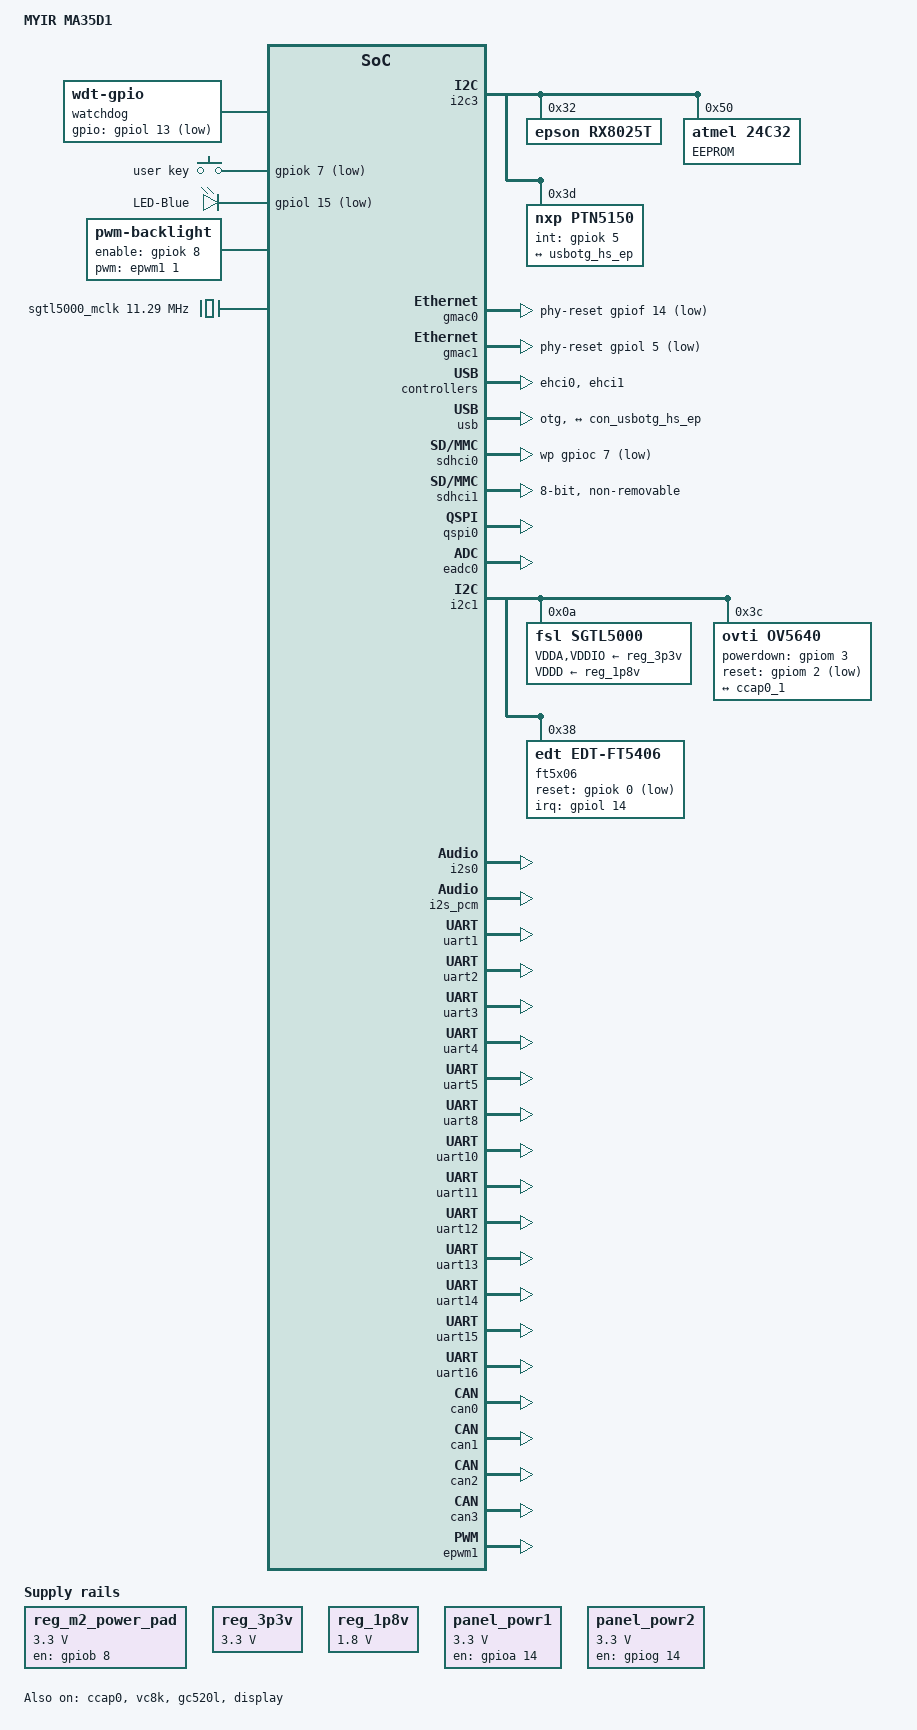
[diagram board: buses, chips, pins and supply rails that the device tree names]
/*
 * Device Tree Source for MA35D1 
 * Copyright (C) 2024 MYIR
 *
 */

/dts-v1/;

#include "ma35d1.dtsi"


#define OV2659_SUPPORT           0

/ {
	model = "MYIR MA35D1";

	chosen {
		bootargs = "root=/dev/mmcblk0p1 rootfstype=ext4 rw rootwait console=ttyS0,115200n8 rdinit=/sbin/init mem=256M";
	};

	reserved-memory {
		display_buf: display_buf@0 {
			reg = <0x0 0x8C800000 0x0 0x3000000>; /* 48MiB */
			no-map;
		};
		vc8k_buf: vc8k_buf@0 {
			reg = <0x0 0x8A800000 0x0 0x2000000>; /* 32MiB */
			no-map;
		};
		gc520l_buf: gc520l_buf@0 {
			reg = <0x0 0x8A000000 0x0 0x800000>; /* 8MiB */
			no-map;
		};
		rproc_buf: rproc_buf@0 {
			reg = <0x0 0x80020000 0x0 0x60000>; /* 384KB */
			no-map;
		};
	};

	regulators {
			compatible = "simple-bus";
			#address-cells = <1>;
			#size-cells = <0>;

		reg_m2_power_pad: regulator1 {
			compatible = "regulator-fixed";
			regulator-name = "fixed-3.3V";
			regulator-min-microvolt = <3300000>;
			regulator-max-microvolt = <3300000>;
			regulator-boot-on;
			regulator-always-on;
			enable-active-high;
			gpios = <&gpiob 8 GPIO_ACTIVE_HIGH>;
		};

	};

	reg_3p3v: regulator1 {
		compatible = "regulator-fixed";
		regulator-name = "fixed-3.3V";
		regulator-min-microvolt = <3300000>;
		regulator-max-microvolt = <3300000>;
		regulator-boot-on;
		regulator-always-on;
	};

	reg_1p8v: regulator0 {
		compatible = "regulator-fixed";
		regulator-name = "fixed-1.8V";
		regulator-min-microvolt = <1800000>;
		regulator-max-microvolt = <1800000>;
		regulator-boot-on;
		regulator-always-on;
	};

	watchdog: watchdog {
		// SGM823
		compatible = "linux,wdt-gpio";
		gpios = <&gpiol 13 GPIO_ACTIVE_LOW>;
		hw_algo = "toggle";
		// always-running;
		hw_margin_ms = <1600>;
	};

	gpio_keys_test {
		compatible = "gpio-keys";
		status = "okay";
		autorepeat;
		botton0 {
			label = "user key";
			linux,code = <KEY_DOWN>;
			gpios = <&gpiok 7 GPIO_ACTIVE_LOW>;
			wakeup-source;
		};
	};

	gpio_leds_test {
		compatible = "gpio-leds";
		status = "okay";
		led0 {
			label = "LED-Blue";
			gpios = <&gpiol 15 GPIO_ACTIVE_LOW>;
			default-state = "on";
			linux,default-trigger = "heartbeat";
		};
	};

	panel_powr1: regulator-panel_powr1 {
		compatible = "regulator-fixed";
		regulator-name = "panel-power1";
		regulator-min-microvolt = <3300000>;
		regulator-max-microvolt = <3300000>;
		gpios = <&gpioa 14 GPIO_ACTIVE_HIGH>;
		enable-active-high;
		regulator-boot-on;
		regulator-always-on;
	};

	panel_powr2: regulator-panel_powr2 {
		compatible = "regulator-fixed";
		regulator-name = "panel-power2";
		regulator-min-microvolt = <3300000>;
		regulator-max-microvolt = <3300000>;
		gpios = <&gpiog 14 GPIO_ACTIVE_HIGH>;
		enable-active-high;
		regulator-boot-on;
		regulator-always-on;
	};

	backlight: backlight {
		compatible = "pwm-backlight";
		brightness-levels = <250 225 175 125 75 25>;
		default-brightness-level = <5>;
		pwms = <&epwm1 1 50000>;
		enable-gpios = <&gpiok 8 GPIO_ACTIVE_HIGH>;
		status = "okay";
    };

	volt0_sdhci1: regulator-volt0_sdhci1 {
		compatible = "nuvoton,ma35d1-volt";
		regulator-min-microvolt = <1800000>;
		regulator-max-microvolt = <3300000>;
		regulator-name = "volt0_sdhci1";
		regulator-always-on;
    };

	sgtl5000_mclk: sgtl5000-mclk {
		compatible = "fixed-clock";
		#clock-cells = <0>;
		clock-frequency = <11289600>;
	};

};

&mem {
	device_type = "memory";
	reg = <0x00000000 0x80000000 0 0x10000000>; /* DRAM space - 1, size : 256MB DRAM */
};

&ccap0 {
	status = "okay";
	port {
			/* Parallel bus endpoint */
			ccap0_1: endpoint {
#if (OV2659_SUPPORT)
					remote-endpoint = <&ov2659_0>;
#else
					remote-endpoint = <&ov5640_0>;
#endif
					bus-width = <8>;
					hsync-active = <0>;     /* Active low */
					vsync-active = <0>;     /* Active high */
					pclk-sample = <1>;      /* Rising */
			};
	};
};

&i2c3 {
	status = "okay";
	pinctrl-names = "default";
	pinctrl-0 = <&pinctrl_i2c3>;

	rx8025t: rx8025t@32 {
		status = "okay";
		compatible = "epson,rx8025t";
		reg = <0x32>;
    };

	EEPROM:24C32F@50 {
		status = "okay";
		compatible = "atmel,24c32";
		reg = <0x50>;
		pagesize = <64>;
	};

	ptn5150: ptn5150@3d {
		status = "okay";
		compatible = "nxp,ptn5150";
		reg = <0x3d>;
		pinctrl-names = "default";
		int-gpios = <&gpiok 5 GPIO_ACTIVE_HIGH>;

		connector {
			compatible = "usb-c-connector";
			label = "USB-C";
			port {
				con_usbotg_hs_ep: endpoint {
					remote-endpoint = <&usbotg_hs_ep>;
				};
			};
		};
	};
};

&ccap1 {
        status = "disabled";
};

&i2c4 {
	status = "disabled";
	pinctrl-names = "default";
	pinctrl-0 = <&pinctrl_i2c4>;
};

&gmac0 {
	status = "okay";
	pinctrl-names = "default";
	pinctrl-0 = <&pinctrl_gmac0>;
	phy-reset-duration = <20>;
	phy-reset-post-delay=<20>;
	phy-reset-gpios = <&gpiof 14 GPIO_ACTIVE_HIGH>;
};

&gmac1 {
	status = "okay";
	pinctrl-names = "default";
	pinctrl-0 = <&pinctrl_gmac1>;
	phy-reset-duration = <20>;
	phy-reset-post-delay=<20>;
	phy-reset-gpios = <&gpiol 5 GPIO_ACTIVE_HIGH>;
};

&ehci0 {
	// pinctrl-names = "default";
	// pinctrl-0 = <&pinctrl_hsusbh>;
	oc-active-level = <1>;
	status = "okay";
};

&usb {
	pinctrl-names = "default";
	pinctrl-0 = <&pinctrl_usb>;
	dr_mode = "otg";
	port {
		usbotg_hs_ep: endpoint {
			remote-endpoint = <&con_usbotg_hs_ep>;
		};
	};
};

&ehci1 {
   status = "okay";
   oc-active-level = <1>;
};

&nand {
	status = "disabled";
};

/* SD */
&sdhci0 {
	status = "okay";
	pinctrl-names = "default";
	pinctrl-0 = <&pinctrl_sdhci0>;
	wp-gpios = <&gpioc 7 GPIO_ACTIVE_LOW>;
};

/*eMMC*/
&sdhci1 {
	status = "okay";
	pinctrl-names = "default";
	pinctrl-0 = <&pinctrl_sdhci1_3_3V>;
	max-frequency = <200000000>;
	bus-width = <8>;
	no-1-8-v;
	non-removable;
};

&qspi0 {
	status = "okay";
	pinctrl-names = "default";
	pinctrl-0 = <&pinctrl_qspi0>;
};

// &adc0 {
// 	status = "okay";
// 	pinctrl-names = "default";
// 	pinctrl-0 = <&pinctrl_adc0>;
// };

&eadc0 {
	status = "okay";
	// pinctrl-names = "default";
	// pinctrl-0 = <&pinctrl_eadc0>;
};

&i2c1 {
	pinctrl-names = "default";
	pinctrl-0 = <&pinctrl_i2c1>;
	status = "okay";

	sgtl5000: audio-codec@a {
		compatible = "fsl,sgtl5000";
		reg = <0xa>;
		#sound-dai-cells = <0>;
		clocks = <&sgtl5000_mclk>;
		VDDA-supply = <&reg_3p3v>;
		VDDIO-supply = <&reg_3p3v>;
		VDDD-supply = <&reg_1p8v>;
		status = "okay";
	};

#if (OV2659_SUPPORT)
	ov2659: camera@30 {
		compatible = "ovti,ov2659";
		reg = <0x30>;
		pinctrl-names = "default";
		pinctrl-0 = <&pinctrl_ccap0>;
		clocks = <&clk CCAP0_GATE>;
		clock-names = "xvclk";
		powerdown-gpios = <&gpiom 10 (GPIO_ACTIVE_HIGH | GPIO_PUSH_PULL)>;
		reset-gpios = <&gpiom 11 (GPIO_ACTIVE_LOW | GPIO_PUSH_PULL)>;
		status = "okay";
		port {
			ov2659_0: endpoint {
				remote-endpoint = <&ccap0_1>;
				bus-width = <8>;
				data-shift = <2>; /* lines 9:2 are used */
				hsync-active = <1>;
				vsync-active = <0>;
				pclk-sample = <1>;
				link-frequencies = /bits/ 64 <70000000>;
				pclk-max-frequency = <12000000>;
			};
		};
	};
#else
	ov5640: camera@3c {
		compatible = "ovti,ov5640";
		reg = <0x3c>;
		pinctrl-names = "default";
		pinctrl-0 = <&pinctrl_ccap0>;
		clocks = <&clk CCAP0_GATE>;
		clock-names = "xclk";
		// powerdown-gpios = <&gpiom 10 (GPIO_ACTIVE_HIGH | GPIO_PUSH_PULL)>;
		// reset-gpios = <&gpiom 11 (GPIO_ACTIVE_LOW | GPIO_PUSH_PULL)>;

		powerdown-gpios = <&gpiom 3 (GPIO_ACTIVE_HIGH | GPIO_PUSH_PULL)>;
		reset-gpios = <&gpiom 2 (GPIO_ACTIVE_LOW | GPIO_PUSH_PULL)>;

		status = "okay";
		port {
			ov5640_0: endpoint {
				remote-endpoint = <&ccap0_1>;
				hsync-active = <0>;     /* Active low */
				vsync-active = <0>;     /* Active low */
				pclk-sample = <1>;      /* Rising */
				link-frequencies = /bits/ 64 <70000000>;
			};
		};
	};
#endif

   ft5x06: ft5x06@38 {
        compatible = "edt,edt-ft5406";
        reg = <0x38>;
        interrupt-parent = <&gpiol>;
        interrupts = <14 2>;
        reset-gpios = <&gpiok 0 GPIO_ACTIVE_LOW>;
        touchscreen-size-x=<800>;
        touchscreen-size-y=<480>;
   };

};

&i2c2 {
	status = "disabled";
	pinctrl-names = "default";
	pinctrl-0 = <&pinctrl_i2c2>;
};

&i2c5 {
	pinctrl-names = "default";
	pinctrl-0 = <&pinctrl_i2c5>;
	status = "disabled";
};

&i2s0 {
	status = "okay";
	pinctrl-names = "default";
	pinctrl-0 = <&pinctrl_i2s0>;
	#sound-dai-cells = <0>;
	// powerdown-gpios = <&gpiod 13 GPIO_ACTIVE_HIGH>; /* PD13 */
};

&i2s_pcm {
	status = "okay";
};

&sound {
	status = "okay";
};

&vc8k {
	memory-region = <&vc8k_buf>;
	status = "okay";
};

&gc520l {
	memory-region = <&gc520l_buf>;
	status = "okay";
};

&display {
	pinctrl-names = "default";
	pinctrl-0 = <&pinctrl_display0>;
	memory-region = <&display_buf>;
	status = "okay";
};

&uart1 {
    status = "okay";
    pinctrl-names = "default";
    pinctrl-0 = <&pinctrl_uart1>;
};

&uart2 {
    status = "okay";
    pinctrl-names = "default";
    pinctrl-0 = <&pinctrl_uart2>;
};

&uart3 {
    status = "okay";
    pinctrl-names = "default";
    pinctrl-0 = <&pinctrl_uart3>;
};

&uart4 {
    status = "okay";
    pinctrl-names = "default";
    pinctrl-0 = <&pinctrl_uart4>;
};

&uart5 {
    status = "okay";
    pinctrl-names = "default";
    pinctrl-0 = <&pinctrl_uart5>;
};

&uart8 {
    status = "okay";
    pinctrl-names = "default";
    pinctrl-0 = <&pinctrl_uart8>;
};

&uart10 {
    status = "okay";
    pinctrl-names = "default";
    pinctrl-0 = <&pinctrl_uart10>;
};

&uart11 {
	status = "okay";
	pinctrl-names = "default";
	pinctrl-0 = <&pinctrl_uart11>;
};

&uart12 {
	status = "okay";
	pinctrl-names = "default";
	pinctrl-0 = <&pinctrl_uart12>;
};

&uart13 {
    status = "okay";
    pinctrl-names = "default";
    pinctrl-0 = <&pinctrl_uart13>;
};

&uart14 {
	status = "okay";
	pinctrl-names = "default";
	pinctrl-0 = <&pinctrl_uart14>;
};

&uart15 {
    status = "okay";
    pinctrl-names = "default";
    pinctrl-0 = <&pinctrl_uart15>;
};

&uart16 {
	status = "okay";
	pinctrl-names = "default";
	pinctrl-0 = <&pinctrl_uart16>;
};

&can0 {
	status = "okay";
	pinctrl-names = "default";
	pinctrl-0 = <&pinctrl_can0>;
};

&can1 {
	status = "okay";
	pinctrl-names = "default";
	pinctrl-0 = <&pinctrl_can1>;
};

&can2 {
	status = "okay";
	pinctrl-names = "default";
	pinctrl-0 = <&pinctrl_can2>;
};

&can3 {
	status = "okay";
	pinctrl-names = "default";
	pinctrl-0 = <&pinctrl_can3>;
};

&epwm1 {
	status = "okay";
	#pwm-cells = <2>;
	pinctrl-names = "default";
	pinctrl-0 = <&pinctrl_epwm1>;
};

&ebi0 {
	pinctrl-names = "default";
	pinctrl-0 = <&pinctrl_ebi0_16bit>;
	status = "disabled"; 
};

&pinctrl {
	gmac0 {
		pinctrl_gmac0: gmac0grp{
			nuvoton,pins =
				<SYS_GPE_MFPL_PE0MFP_RGMII0_MDC		&pcfg_emac_1_8V>,
				<SYS_GPE_MFPL_PE1MFP_RGMII0_MDIO	&pcfg_emac_1_8V>,
				<SYS_GPE_MFPL_PE2MFP_RGMII0_TXCTL	&pcfg_emac_1_8V>,
				<SYS_GPE_MFPL_PE3MFP_RGMII0_TXD0	&pcfg_emac_1_8V>,
				<SYS_GPE_MFPL_PE4MFP_RGMII0_TXD1	&pcfg_emac_1_8V>,
				<SYS_GPE_MFPL_PE5MFP_RGMII0_RXCLK	&pcfg_emac_1_8V>,
				<SYS_GPE_MFPL_PE6MFP_RGMII0_RXCTL	&pcfg_emac_1_8V>,
				<SYS_GPE_MFPL_PE7MFP_RGMII0_RXD0	&pcfg_emac_1_8V>,
				<SYS_GPE_MFPH_PE8MFP_RGMII0_RXD1	&pcfg_emac_1_8V>,
				<SYS_GPE_MFPH_PE9MFP_RGMII0_RXD2	&pcfg_emac_1_8V>,
				<SYS_GPE_MFPH_PE10MFP_RGMII0_RXD3	&pcfg_emac_1_8V>,
				<SYS_GPE_MFPH_PE11MFP_RGMII0_TXCLK	&pcfg_emac_1_8V>,
				<SYS_GPE_MFPH_PE12MFP_RGMII0_TXD2	&pcfg_emac_1_8V>,
				<SYS_GPE_MFPH_PE13MFP_RGMII0_TXD3	&pcfg_emac_1_8V>;
		};
	};

	gmac1 {
		pinctrl_gmac1: gmac1grp{
			nuvoton,pins =
				<SYS_GPF_MFPL_PF0MFP_RGMII1_MDC		&pcfg_emac_1_8V>,
				<SYS_GPF_MFPL_PF1MFP_RGMII1_MDIO	&pcfg_emac_1_8V>,
				<SYS_GPF_MFPL_PF2MFP_RGMII1_TXCTL	&pcfg_emac_1_8V>,
				<SYS_GPF_MFPL_PF3MFP_RGMII1_TXD0	&pcfg_emac_1_8V>,
				<SYS_GPF_MFPL_PF4MFP_RGMII1_TXD1	&pcfg_emac_1_8V>,
				<SYS_GPF_MFPL_PF5MFP_RGMII1_RXCLK	&pcfg_emac_1_8V>,
				<SYS_GPF_MFPL_PF6MFP_RGMII1_RXCTL	&pcfg_emac_1_8V>,
				<SYS_GPF_MFPL_PF7MFP_RGMII1_RXD0	&pcfg_emac_1_8V>,
				<SYS_GPF_MFPH_PF8MFP_RGMII1_RXD1	&pcfg_emac_1_8V>,
				<SYS_GPF_MFPH_PF9MFP_RGMII1_RXD2	&pcfg_emac_1_8V>,
				<SYS_GPF_MFPH_PF10MFP_RGMII1_RXD3	&pcfg_emac_1_8V>,
				<SYS_GPF_MFPH_PF11MFP_RGMII1_TXCLK	&pcfg_emac_1_8V>,
				<SYS_GPF_MFPH_PF12MFP_RGMII1_TXD2	&pcfg_emac_1_8V>,
				<SYS_GPF_MFPH_PF13MFP_RGMII1_TXD3	&pcfg_emac_1_8V>;
		};
	};

	// hsusbh {
	// 	pinctrl_hsusbh: hsusbhgrp{
	// 		nuvoton,pins =
	// 			<SYS_GPL_MFPH_PL12MFP_HSUSBH_PWREN	&pcfg_default>,
	// 			<SYS_GPL_MFPH_PL13MFP_HSUSBH_OVC	&pcfg_default>;
	// 	};
	// };

	// adc0 {
	// 	pinctrl_adc0: adc0grp {
	// 		nuvoton,pins =
	// 			<SYS_GPB_MFPH_PB12MFP_ADC0_CH4   &pcfg_default>,
	// 			<SYS_GPB_MFPH_PB13MFP_ADC0_CH5   &pcfg_default>,
	// 			<SYS_GPB_MFPH_PB14MFP_ADC0_CH6   &pcfg_default>,
	// 			<SYS_GPB_MFPH_PB15MFP_ADC0_CH7   &pcfg_default>;
	// 	};
	// };

	// eadc0 {
	// 	pinctrl_eadc0: eadc0grp{
	// 		nuvoton,pins =
	// 			<SYS_GPB_MFPL_PB0MFP_EADC0_CH0	&pcfg_default>,
	// 			<SYS_GPB_MFPL_PB1MFP_EADC0_CH1	&pcfg_default>,
	// 			<SYS_GPB_MFPL_PB2MFP_EADC0_CH2	&pcfg_default>,
	// 			<SYS_GPB_MFPL_PB3MFP_EADC0_CH3	&pcfg_default>,
	// 			<SYS_GPB_MFPL_PB4MFP_EADC0_CH4	&pcfg_default>,
	// 			<SYS_GPB_MFPL_PB5MFP_EADC0_CH5	&pcfg_default>,
	// 			<SYS_GPB_MFPL_PB6MFP_EADC0_CH6	&pcfg_default>,
	// 			<SYS_GPB_MFPL_PB7MFP_EADC0_CH7	&pcfg_default>;
	// 	};
	// };

	i2c1 {
		pinctrl_i2c1: i2c1grp{
			nuvoton,pins =
				<SYS_GPN_MFPL_PN4MFP_I2C1_SDA	&pcfg_default>,
				<SYS_GPN_MFPL_PN5MFP_I2C1_SCL	&pcfg_default>;
		};
	};

	i2c2 {
		pinctrl_i2c2: i2c2grp{
			nuvoton,pins =
				<SYS_GPB_MFPH_PB8MFP_I2C2_SDA	&pcfg_default>,
				<SYS_GPB_MFPH_PB9MFP_I2C2_SCL	&pcfg_default>;
		};
	};

	i2c3 {
		pinctrl_i2c3: i2c3grp{
			nuvoton,pins =
				<SYS_GPB_MFPH_PB12MFP_I2C3_SDA	&pcfg_default>,
				<SYS_GPB_MFPH_PB13MFP_I2C3_SCL	&pcfg_default>;
		};
	};

	i2c4 {
		pinctrl_i2c4: i2c4grp{
			nuvoton,pins =
				<SYS_GPL_MFPL_PL4MFP_I2C4_SDA	&pcfg_default>,
				<SYS_GPL_MFPL_PL5MFP_I2C4_SCL	&pcfg_default>;
		};
	};

	i2c5 {
		pinctrl_i2c5: i2c5grp{
			nuvoton,pins =
				<SYS_GPJ_MFPH_PJ12MFP_I2C5_SDA	&pcfg_default>,
				<SYS_GPJ_MFPH_PJ13MFP_I2C5_SCL	&pcfg_default>;
		};
	};

	i2s0 {
		pinctrl_i2s0: i2s0grp{
			nuvoton,pins =
				<SYS_GPL_MFPL_PL4MFP_I2S0_MCLK	&pcfg_default>,
				<SYS_GPL_MFPL_PL0MFP_I2S0_LRCK	&pcfg_default>,
				<SYS_GPL_MFPL_PL1MFP_I2S0_BCLK	&pcfg_default>,
				<SYS_GPL_MFPL_PL2MFP_I2S0_DI	&pcfg_default>,
				<SYS_GPL_MFPL_PL3MFP_I2S0_DO	&pcfg_default>;
		};
	};

	qspi0 {
		pinctrl_qspi0: qspi0grp{
			nuvoton,pins =
				<SYS_GPD_MFPL_PD0MFP_QSPI0_SS0		&pcfg_default>,
				<SYS_GPD_MFPL_PD1MFP_QSPI0_CLK		&pcfg_default>,
				<SYS_GPD_MFPL_PD2MFP_QSPI0_MOSI0	&pcfg_default>,
				<SYS_GPD_MFPL_PD3MFP_QSPI0_MISO0	&pcfg_default>,
				<SYS_GPD_MFPL_PD4MFP_QSPI0_MOSI1	&pcfg_default>,
				<SYS_GPD_MFPL_PD5MFP_QSPI0_MISO1	&pcfg_default>;
		};
	};

	usb {
		pinctrl_usb: usbgrp{
			nuvoton,pins =
				<SYS_GPF_MFPH_PF15MFP_HSUSB0_VBUSVLD	&pcfg_default>;
		};
	};

	// nand {
		// pinctrl_nand: nandgrp{
			// nuvoton,pins =
				// <SYS_GPA_MFPL_PA0MFP_NAND_DATA0	&pcfg_default>,
				// <SYS_GPA_MFPL_PA1MFP_NAND_DATA1	&pcfg_default>,
				// <SYS_GPA_MFPL_PA2MFP_NAND_DATA2	&pcfg_default>,
				// <SYS_GPA_MFPL_PA3MFP_NAND_DATA3	&pcfg_default>,
				// <SYS_GPA_MFPL_PA4MFP_NAND_DATA4	&pcfg_default>,
				// <SYS_GPA_MFPL_PA5MFP_NAND_DATA5	&pcfg_default>,
				// <SYS_GPA_MFPL_PA6MFP_NAND_DATA6	&pcfg_default>,
				// <SYS_GPA_MFPL_PA7MFP_NAND_DATA7	&pcfg_default>,
				// <SYS_GPA_MFPH_PA8MFP_NAND_RDY	&pcfg_default>,
				// <SYS_GPA_MFPH_PA9MFP_NAND_nRE	&pcfg_default>,
				// <SYS_GPA_MFPH_PA10MFP_NAND_nWE	&pcfg_default>,
				// <SYS_GPA_MFPH_PA11MFP_NAND_CLE	&pcfg_default>,
				// <SYS_GPA_MFPH_PA12MFP_NAND_ALE	&pcfg_default>,
				// <SYS_GPA_MFPH_PA13MFP_NAND_nCS	&pcfg_default>,
				// <SYS_GPA_MFPH_PA14MFP_NAND_nWP	&pcfg_default>;
		// };
	// };

	sdhci0 {
		pinctrl_sdhci0: sdhci0grp{
			nuvoton,pins =
				<SYS_GPC_MFPL_PC0MFP_eMMC0_CMD	&pcfg_sdhci_drive2_3_3V>,
				<SYS_GPC_MFPL_PC1MFP_eMMC0_CLK	&pcfg_sdhci_drive2_3_3V>,
				<SYS_GPC_MFPL_PC2MFP_eMMC0_DAT0	&pcfg_sdhci_drive2_3_3V>,
				<SYS_GPC_MFPL_PC3MFP_eMMC0_DAT1	&pcfg_sdhci_drive2_3_3V>,
				<SYS_GPC_MFPL_PC4MFP_eMMC0_DAT2	&pcfg_sdhci_drive2_3_3V>,
				<SYS_GPC_MFPL_PC5MFP_eMMC0_DAT3	&pcfg_sdhci_drive2_3_3V>,
				<SYS_GPC_MFPL_PC6MFP_SD0_nCD	&pcfg_default>,
				<SYS_GPC_MFPL_PC7MFP_SD0_WP	&pcfg_default>;
		};
	};

	sdhci1 {
		pinctrl_sdhci1_3_3V: sdhci1_3_3Vgrp{
			nuvoton,pins =
				<SYS_GPJ_MFPL_PJ0MFP_eMMC1_DAT4	&pcfg_sdhci_drive2_3_3V>,
				<SYS_GPJ_MFPL_PJ1MFP_eMMC1_DAT5	&pcfg_sdhci_drive2_3_3V>,
				<SYS_GPJ_MFPL_PJ2MFP_eMMC1_DAT6	&pcfg_sdhci_drive2_3_3V>,
				<SYS_GPJ_MFPL_PJ3MFP_eMMC1_DAT7	&pcfg_sdhci_drive2_3_3V>,
				// <SYS_GPJ_MFPL_PJ4MFP_SD1_WP	&pcfg_default>,
				// <SYS_GPJ_MFPL_PJ5MFP_SD1_nCD	&pcfg_default>,
				<SYS_GPJ_MFPL_PJ6MFP_eMMC1_CMD	&pcfg_sdhci_drive2_3_3V>,
				<SYS_GPJ_MFPL_PJ7MFP_eMMC1_CLK	&pcfg_sdhci_drive2_3_3V>,
				<SYS_GPJ_MFPH_PJ8MFP_eMMC1_DAT0	&pcfg_sdhci_drive2_3_3V>,
				<SYS_GPJ_MFPH_PJ9MFP_eMMC1_DAT1	&pcfg_sdhci_drive2_3_3V>,
				<SYS_GPJ_MFPH_PJ10MFP_eMMC1_DAT2	&pcfg_sdhci_drive2_3_3V>,
				<SYS_GPJ_MFPH_PJ11MFP_eMMC1_DAT3	&pcfg_sdhci_drive2_3_3V>;
		};

		//pinctrl_sdhci1_1_8V: sdhci1_1_8Vgrp{
		//	nuvoton,pins =
		//		<SYS_GPJ_MFPL_PJ0MFP_eMMC1_DAT4	&pcfg_sdhci_drive1_1_8V>,
		//		<SYS_GPJ_MFPL_PJ1MFP_eMMC1_DAT5	&pcfg_sdhci_drive1_1_8V>,
		//		<SYS_GPJ_MFPL_PJ2MFP_eMMC1_DAT6	&pcfg_sdhci_drive1_1_8V>,
		//		<SYS_GPJ_MFPL_PJ3MFP_eMMC1_DAT7	&pcfg_sdhci_drive1_1_8V>,
		//		/* <SYS_GPJ_MFPL_PJ4MFP_SD1_WP	&pcfg_default>, */
		//		/* <SYS_GPJ_MFPL_PJ5MFP_SD1_nCD	&pcfg_default>, */
		//		<SYS_GPJ_MFPL_PJ6MFP_eMMC1_CMD	&pcfg_sdhci_drive4_1_8V>,
		//		<SYS_GPJ_MFPL_PJ7MFP_eMMC1_CLK	&pcfg_sdhci_drive7_1_8V>,
		//		<SYS_GPJ_MFPH_PJ8MFP_eMMC1_DAT0	&pcfg_sdhci_drive1_1_8V>,
		//		<SYS_GPJ_MFPH_PJ9MFP_eMMC1_DAT1	&pcfg_sdhci_drive1_1_8V>,
		//		<SYS_GPJ_MFPH_PJ10MFP_eMMC1_DAT2	&pcfg_sdhci_drive1_1_8V>,
		//		<SYS_GPJ_MFPH_PJ11MFP_eMMC1_DAT3	&pcfg_sdhci_drive1_1_8V>;
		//};
	};

	ccap0 {
		pinctrl_ccap0: ccap0grp{
			nuvoton,pins =
				<SYS_GPK_MFPH_PK9MFP_CCAP0_SCLK		&pcfg_default>,
				<SYS_GPK_MFPH_PK10MFP_CCAP0_PIXCLK	&pcfg_default>,
				<SYS_GPK_MFPH_PK11MFP_CCAP0_HSYNC	&pcfg_default>,
				<SYS_GPM_MFPL_PM0MFP_CCAP0_VSYNC	&pcfg_default>,
				// <SYS_GPM_MFPL_PM2MFP_CCAP0_DATA0	&pcfg_default>,
				// <SYS_GPM_MFPL_PM3MFP_CCAP0_DATA1	&pcfg_default>,
				<SYS_GPM_MFPL_PM4MFP_CCAP0_DATA2	&pcfg_default>,
				<SYS_GPM_MFPL_PM5MFP_CCAP0_DATA3	&pcfg_default>,
				<SYS_GPM_MFPL_PM6MFP_CCAP0_DATA4	&pcfg_default>,
				<SYS_GPM_MFPL_PM7MFP_CCAP0_DATA5	&pcfg_default>,
				<SYS_GPM_MFPH_PM8MFP_CCAP0_DATA6	&pcfg_default>,
				<SYS_GPM_MFPH_PM9MFP_CCAP0_DATA7	&pcfg_default>,
				<SYS_GPM_MFPH_PM10MFP_CCAP0_DATA8	&pcfg_default>,
				<SYS_GPM_MFPH_PM11MFP_CCAP0_DATA9	&pcfg_default>;
		};
	};

	ccap1 {
		pinctrl_ccap1: ccap1grp{
			nuvoton,pins =
				<SYS_GPN_MFPL_PN0MFP_CCAP1_DATA0	&pcfg_default>,
				<SYS_GPN_MFPL_PN1MFP_CCAP1_DATA1	&pcfg_default>,
				<SYS_GPN_MFPL_PN2MFP_CCAP1_DATA2	&pcfg_default>,
				<SYS_GPN_MFPL_PN3MFP_CCAP1_DATA3	&pcfg_default>,
				<SYS_GPN_MFPL_PN4MFP_CCAP1_DATA4	&pcfg_default>,
				<SYS_GPN_MFPL_PN5MFP_CCAP1_DATA5	&pcfg_default>,
				<SYS_GPN_MFPL_PN6MFP_CCAP1_DATA6	&pcfg_default>,
				<SYS_GPN_MFPL_PN7MFP_CCAP1_DATA7	&pcfg_default>,
				<SYS_GPN_MFPH_PN10MFP_CCAP1_SCLK	&pcfg_default>,
				<SYS_GPN_MFPH_PN11MFP_CCAP1_PIXCLK	&pcfg_default>,
				<SYS_GPN_MFPH_PN12MFP_CCAP1_HSYNC	&pcfg_default>,
				<SYS_GPN_MFPH_PN13MFP_CCAP1_VSYNC	&pcfg_default>;
		};
	};

	display {
		pinctrl_display0: display0grp{
			nuvoton,pins =
				<SYS_GPG_MFPH_PG8MFP_LCM_VSYNC		&pcfg_default>,
				<SYS_GPG_MFPH_PG9MFP_LCM_HSYNC		&pcfg_default>,
				<SYS_GPG_MFPH_PG10MFP_LCM_CLK		&pcfg_default>,
				<SYS_GPK_MFPL_PK4MFP_LCM_DEN		&pcfg_default>,
				<SYS_GPI_MFPH_PI8MFP_LCM_DATA0		&pcfg_default>,
				<SYS_GPI_MFPH_PI9MFP_LCM_DATA1		&pcfg_default>,
				<SYS_GPI_MFPH_PI10MFP_LCM_DATA2		&pcfg_default>,
				<SYS_GPI_MFPH_PI11MFP_LCM_DATA3		&pcfg_default>,
				<SYS_GPI_MFPH_PI12MFP_LCM_DATA4		&pcfg_default>,
				<SYS_GPI_MFPH_PI13MFP_LCM_DATA5		&pcfg_default>,
				<SYS_GPI_MFPH_PI14MFP_LCM_DATA6		&pcfg_default>,
				<SYS_GPI_MFPH_PI15MFP_LCM_DATA7		&pcfg_default>,
				<SYS_GPH_MFPL_PH0MFP_LCM_DATA8		&pcfg_default>,
				<SYS_GPH_MFPL_PH1MFP_LCM_DATA9		&pcfg_default>,
				<SYS_GPH_MFPL_PH2MFP_LCM_DATA10		&pcfg_default>,
				<SYS_GPH_MFPL_PH3MFP_LCM_DATA11		&pcfg_default>,
				<SYS_GPH_MFPL_PH4MFP_LCM_DATA12		&pcfg_default>,
				<SYS_GPH_MFPL_PH5MFP_LCM_DATA13		&pcfg_default>,
				<SYS_GPH_MFPL_PH6MFP_LCM_DATA14		&pcfg_default>,
				<SYS_GPH_MFPL_PH7MFP_LCM_DATA15		&pcfg_default>,
				<SYS_GPC_MFPH_PC12MFP_LCM_DATA16	&pcfg_default>,
				<SYS_GPC_MFPH_PC13MFP_LCM_DATA17	&pcfg_default>,
				<SYS_GPC_MFPH_PC14MFP_LCM_DATA18	&pcfg_default>,
				<SYS_GPC_MFPH_PC15MFP_LCM_DATA19	&pcfg_default>,
				<SYS_GPH_MFPH_PH12MFP_LCM_DATA20	&pcfg_default>,
				<SYS_GPH_MFPH_PH13MFP_LCM_DATA21	&pcfg_default>,
				<SYS_GPH_MFPH_PH14MFP_LCM_DATA22	&pcfg_default>,
				<SYS_GPH_MFPH_PH15MFP_LCM_DATA23	&pcfg_default>;
		};
	};

	uart1 {
        pinctrl_uart1: uart1grp{
            nuvoton,pins =
                <SYS_GPA_MFPL_PA2MFP_UART1_RXD    &pcfg_default>,
                <SYS_GPA_MFPL_PA3MFP_UART1_TXD    &pcfg_default>;
        };
    };

	uart2 {
        pinctrl_uart2: uart2grp{
            nuvoton,pins =
                <SYS_GPA_MFPL_PA4MFP_UART2_RXD    &pcfg_default>,
                <SYS_GPA_MFPL_PA5MFP_UART2_TXD    &pcfg_default>;
        };
    };

	uart3 {
        pinctrl_uart3: uart3grp{
            nuvoton,pins =
                <SYS_GPA_MFPL_PA6MFP_UART3_RXD    &pcfg_default>,
                <SYS_GPA_MFPL_PA7MFP_UART3_TXD    &pcfg_default>;
        };
    };

	uart4 {
        pinctrl_uart4: uart4grp{
            nuvoton,pins =
                <SYS_GPA_MFPH_PA8MFP_UART4_RXD    &pcfg_default>,
                <SYS_GPA_MFPH_PA9MFP_UART4_TXD    &pcfg_default>;
        };
    };

	uart5 {
        pinctrl_uart5: uart5grp{
            nuvoton,pins =
                <SYS_GPA_MFPH_PA10MFP_UART5_RXD    &pcfg_default>,
                <SYS_GPA_MFPH_PA11MFP_UART5_TXD    &pcfg_default>;
        };
    };

	uart8 {
        pinctrl_uart8: uart8grp{
            nuvoton,pins =
                <SYS_GPA_MFPH_PA12MFP_UART8_RXD    &pcfg_default>,
                <SYS_GPA_MFPH_PA13MFP_UART8_TXD    &pcfg_default>;
        };
    };

	uart10 {
        pinctrl_uart10: uart10grp{
            nuvoton,pins =
                <SYS_GPM_MFPH_PM13MFP_UART10_nRTS   &pcfg_default>,
                <SYS_GPM_MFPH_PM14MFP_UART10_RXD    &pcfg_default>,
                <SYS_GPM_MFPH_PM15MFP_UART10_TXD    &pcfg_default>;
        };
    };

	uart11 {
        pinctrl_uart11: uart11grp{
            nuvoton,pins =
                <SYS_GPD_MFPH_PD15MFP_UART11_nRTS   &pcfg_default>,
                <SYS_GPD_MFPH_PD13MFP_UART11_RXD    &pcfg_default>,
                <SYS_GPD_MFPH_PD12MFP_UART11_TXD    &pcfg_default>;
        };
    };

    uart12 {
        pinctrl_uart12: uart12grp{
            nuvoton,pins =
                <SYS_GPI_MFPL_PI1MFP_UART12_nRTS    &pcfg_default>,
                <SYS_GPI_MFPL_PI2MFP_UART12_RXD     &pcfg_default>,
                <SYS_GPI_MFPL_PI3MFP_UART12_TXD     &pcfg_default>;
        };
    };

    uart13 {
        pinctrl_uart13: uart13grp{
            nuvoton,pins =
                <SYS_GPM_MFPH_PM12MFP_UART10_nCTS   &pcfg_default>,
                <SYS_GPI_MFPL_PI4MFP_UART13_RXD     &pcfg_default>,
                <SYS_GPI_MFPL_PI5MFP_UART13_TXD     &pcfg_default>;
        };
    };

    uart14 {
        pinctrl_uart14: uart14grp{
            nuvoton,pins =
                <SYS_GPL_MFPH_PL9MFP_UART14_nRTS    &pcfg_default>,
                <SYS_GPL_MFPH_PL10MFP_UART14_RXD    &pcfg_default>,
                <SYS_GPL_MFPH_PL11MFP_UART14_TXD    &pcfg_default>;
        };
    };

    uart15 {
        pinctrl_uart15: uart15grp{
            nuvoton,pins =
                <SYS_GPL_MFPH_PL8MFP_UART14_nCTS    &pcfg_default>,
                <SYS_GPD_MFPH_PD8MFP_UART15_RXD     &pcfg_default>,
                <SYS_GPD_MFPH_PD9MFP_UART15_TXD     &pcfg_default>;
        };
    };

	uart16 {
		pinctrl_uart16: uart16grp{
			nuvoton,pins =
				<SYS_GPD_MFPH_PD10MFP_UART16_RXD		&pcfg_default>,
				<SYS_GPD_MFPH_PD11MFP_UART16_TXD		&pcfg_default>;
		};
	};

	can0 {
		pinctrl_can0: can0grp{
			nuvoton,pins =
				<SYS_GPN_MFPL_PN2MFP_CAN0_RXD	&pcfg_default>,
				<SYS_GPN_MFPL_PN3MFP_CAN0_TXD	&pcfg_default>;
		};
	};

	can1 {
		pinctrl_can1: can1grp{
			nuvoton,pins =
				<SYS_GPN_MFPL_PN6MFP_CAN1_RXD	&pcfg_default>,
				<SYS_GPN_MFPL_PN7MFP_CAN1_TXD	&pcfg_default>;
		};
	};

	can2 {
		pinctrl_can2: can2grp{
			nuvoton,pins =
				<SYS_GPN_MFPH_PN10MFP_CAN2_RXD	&pcfg_default>,
				<SYS_GPN_MFPH_PN11MFP_CAN2_TXD	&pcfg_default>;
		};
	};

	can3 {
		pinctrl_can3: can3grp{
			nuvoton,pins =
				<SYS_GPK_MFPH_PK14MFP_CAN3_RXD	&pcfg_default>,
				<SYS_GPK_MFPH_PK15MFP_CAN3_TXD	&pcfg_default>;
		};
	};

	epwm1 {
		pinctrl_epwm1: epwm1grp{
			nuvoton,pins =
				// <SYS_GPK_MFPL_PK5MFP_EPWM1_CH1	&pcfg_default>,
				// <SYS_GPM_MFPH_PM13MFP_EPWM1_CH5	&pcfg_default>;
				<SYS_GPK_MFPH_PK8MFP_EPWM1_CH0	&pcfg_default>;
		};
	};

	ebi0 {
		pinctrl_ebi0_16bit: ebi0_16bitgrp{
			nuvoton,pins =
				<SYS_GPG_MFPH_PG11MFP_EBI_AD0		&pcfg_default>,
				<SYS_GPG_MFPH_PG12MFP_EBI_AD1		&pcfg_default>,
				<SYS_GPG_MFPH_PG13MFP_EBI_AD2		&pcfg_default>,
				<SYS_GPG_MFPH_PG14MFP_EBI_AD3		&pcfg_default>,
				<SYS_GPG_MFPH_PG15MFP_EBI_AD4		&pcfg_default>,
				<SYS_GPL_MFPL_PL6MFP_EBI_AD5		&pcfg_default>,
				<SYS_GPL_MFPL_PL7MFP_EBI_AD6		&pcfg_default>,
				<SYS_GPL_MFPH_PL8MFP_EBI_AD7		&pcfg_default>,
				<SYS_GPL_MFPH_PL9MFP_EBI_AD8		&pcfg_default>,
				<SYS_GPD_MFPH_PD10MFP_EBI_AD9		&pcfg_default>,
				<SYS_GPD_MFPH_PD11MFP_EBI_AD10	&pcfg_default>,
				<SYS_GPL_MFPL_PL0MFP_EBI_AD11		&pcfg_default>,
				<SYS_GPL_MFPL_PL1MFP_EBI_AD12		&pcfg_default>,
				// <SYS_GPL_MFPL_PL2MFP_EBI_AD13		&pcfg_default>,
				<SYS_GPL_MFPL_PL3MFP_EBI_AD14		&pcfg_default>,
				<SYS_GPG_MFPL_PG0MFP_EBI_AD15		&pcfg_default>,
				<SYS_GPI_MFPL_PI0MFP_EBI_ADR0		&pcfg_default>,
				<SYS_GPI_MFPL_PI1MFP_EBI_ADR1		&pcfg_default>,
				<SYS_GPI_MFPL_PI2MFP_EBI_ADR2		&pcfg_default>,
				<SYS_GPI_MFPL_PI3MFP_EBI_ADR3		&pcfg_default>,
				<SYS_GPI_MFPL_PI4MFP_EBI_ADR4		&pcfg_default>,
				<SYS_GPI_MFPL_PI5MFP_EBI_ADR5		&pcfg_default>,
				<SYS_GPI_MFPL_PI6MFP_EBI_ADR6		&pcfg_default>,
				<SYS_GPI_MFPL_PI7MFP_EBI_ADR7		&pcfg_default>,
				<SYS_GPK_MFPL_PK0MFP_EBI_ADR8		&pcfg_default>,
				<SYS_GPK_MFPL_PK1MFP_EBI_ADR9		&pcfg_default>,
				<SYS_GPK_MFPL_PK2MFP_EBI_ADR10	&pcfg_default>,
				<SYS_GPK_MFPL_PK3MFP_EBI_ADR11	&pcfg_default>,
				<SYS_GPJ_MFPH_PJ12MFP_EBI_ADR12	&pcfg_default>,
				<SYS_GPJ_MFPH_PJ13MFP_EBI_ADR13	&pcfg_default>,
				<SYS_GPJ_MFPH_PJ14MFP_EBI_ADR14	&pcfg_default>,
				<SYS_GPJ_MFPH_PJ15MFP_EBI_ADR15	&pcfg_default>,
				<SYS_GPG_MFPL_PG2MFP_EBI_ADR16	&pcfg_default>,
				<SYS_GPG_MFPL_PG3MFP_EBI_ADR17	&pcfg_default>,
				<SYS_GPG_MFPL_PG4MFP_EBI_ADR18	&pcfg_default>,
				<SYS_GPG_MFPL_PG5MFP_EBI_ADR19	&pcfg_default>,
				<SYS_GPA_MFPH_PA15MFP_EBI_ALE		&pcfg_default>,
				<SYS_GPG_MFPL_PG1MFP_EBI_nCS0		&pcfg_default>,
				<SYS_GPD_MFPH_PD12MFP_EBI_nCS1	&pcfg_default>,
				<SYS_GPD_MFPH_PD13MFP_EBI_nCS2	&pcfg_default>,
				<SYS_GPB_MFPH_PB10MFP_EBI_MCLK	&pcfg_default>,
				<SYS_GPG_MFPL_PG6MFP_EBI_nRD		&pcfg_default>,
				<SYS_GPG_MFPL_PG7MFP_EBI_nWR		&pcfg_default>,
				<SYS_GPL_MFPH_PL11MFP_EBI_nWRL	&pcfg_default>,
				<SYS_GPL_MFPH_PL10MFP_EBI_nWRH	&pcfg_default>;
		};
	};

};
